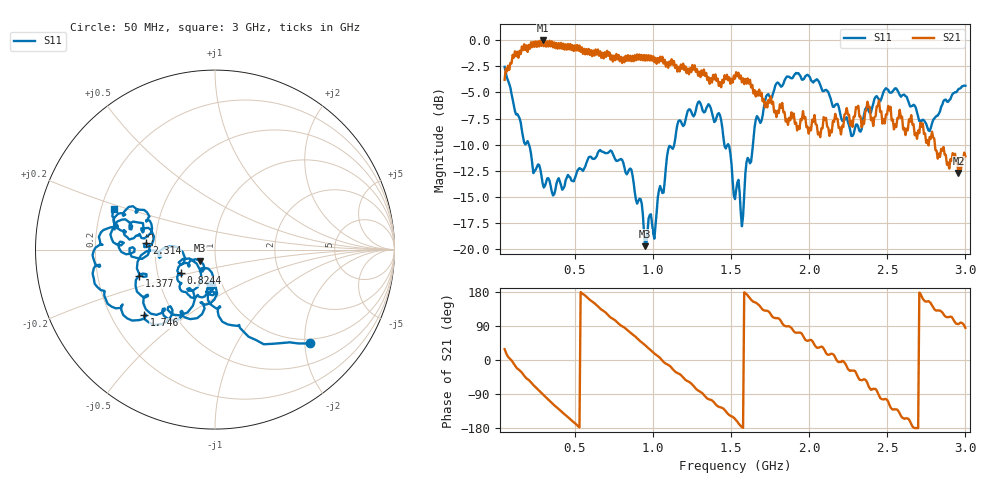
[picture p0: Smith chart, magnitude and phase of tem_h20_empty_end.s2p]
! nanovna_capture.py 2026-10-26T21:18:56+0900
! NanoVNA-F_V2 fw 0.6.0 SN 4A3639384505514B
! cal: load open short thru cal'ed  over 50000000-3000000000 Hz, 201 points
! points 401, avg 4
! TEM cell h=20, empty, end of session (drift check)
# HZ S RI R 50
! S12 and S22 are not measured (written as 0)
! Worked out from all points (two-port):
!   401 points, 50 MHz to 3 GHz, reference 50 ohm
!   highest |S21| = -0.02 dB at 293.4 MHz (marker M1); lowest = -12.7 dB at 2.956 GHz (marker M2)
!   |S21| within 3 dB of the highest: 55.24 MHz to 1.214 GHz (1.159 GHz wide, 183 % of centre); 1.245 GHz to 1.274 GHz (28.98 MHz wide, 2.3 % of centre) (the widest 2 of 8)
!   lowest |S11| = -19.7 dB at 949.8 MHz (marker M3), VSWR 1.23, Z = 42.1 - j5.24 ohm
!   |S11| at or under -10 dB: 205.8 MHz to 1.136 GHz (930.2 MHz wide, 139 % of centre); 1.457 GHz to 1.478 GHz (21.32 MHz wide, 1.45 % of centre); 1.483 GHz to 1.64 GHz (157.1 MHz wide, 10.1 % of centre)
!   S12 and S22 are empty: the file has one direction only
!   S11 on the Smith chart (normalised r, x): 50 MHz: 0.90, -2.12; 824.4 MHz: 0.66, -0.18; 1.377 GHz: 0.39, -0.14; 1.746 GHz: 0.34, -0.35; 2.314 GHz: 0.45, +0.04; 3 GHz: 0.25, +0.18
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5e7  0.5317 -0.5227  0.5674 0.3098  0 0  0 0
1.01625e8  0.1877 -0.4858  0.848 -0.0773  0 0  0 0
1.60625e8  0.0203 -0.3696  0.78 -0.5111  0 0  0 0
2.93375e8  -0.0365 -0.2031  -0.00496 -0.9972  0 0  0 0
4.26125e8  -0.0126 -0.1948  -0.745 -0.6098  0 0  0 0
5.44125e8  -0.0504 -0.2348  -0.9227 0.0573  0 0  0 0
7.06375e8  -0.1635 -0.2371  -0.4595 0.7618  0 0  0 0
8.24375e8  -0.1921 -0.131  0.102 0.8349  0 0  0 0
9.4975e8  -0.0828 -0.0616  0.6187 0.5045  0 0  0 0
1.03825e9  -0.0273 -0.1896  0.774 0.1093  0 0  0 0
1.207875e9  -0.1843 -0.3705  0.4564 -0.5939  0 0  0 0
1.3775e9  -0.4243 -0.145  -0.1787 -0.6011  0 0  0 0
1.525e9  -0.1664 -0.049  -0.5946 -0.2729  0 0  0 0
1.56925e9  -0.1025 -0.0776  -0.6273 -0.0323  0 0  0 0
1.74625e9  -0.394 -0.3654  -0.2903 0.4098  0 0  0 0
2.019125e9  -0.633 0.0276  0.2644 0.3216  0 0  0 0
2.12975e9  -0.5176 0.167  0.3378 0.0842  0 0  0 0
2.314125e9  -0.3831 0.0358  0.3361 -0.3502  0 0  0 0
2.51325e9  -0.5492 0.1217  -0.2179 -0.407  0 0  0 0
2.712375e9  -0.3712 0.1788  -0.4015 0.0403  0 0  0 0
2.95575e9  -0.5637 0.152  -0.0194 0.2303  0 0  0 0
3e9  -0.5609 0.2276  0.0257 0.2768  0 0  0 0
